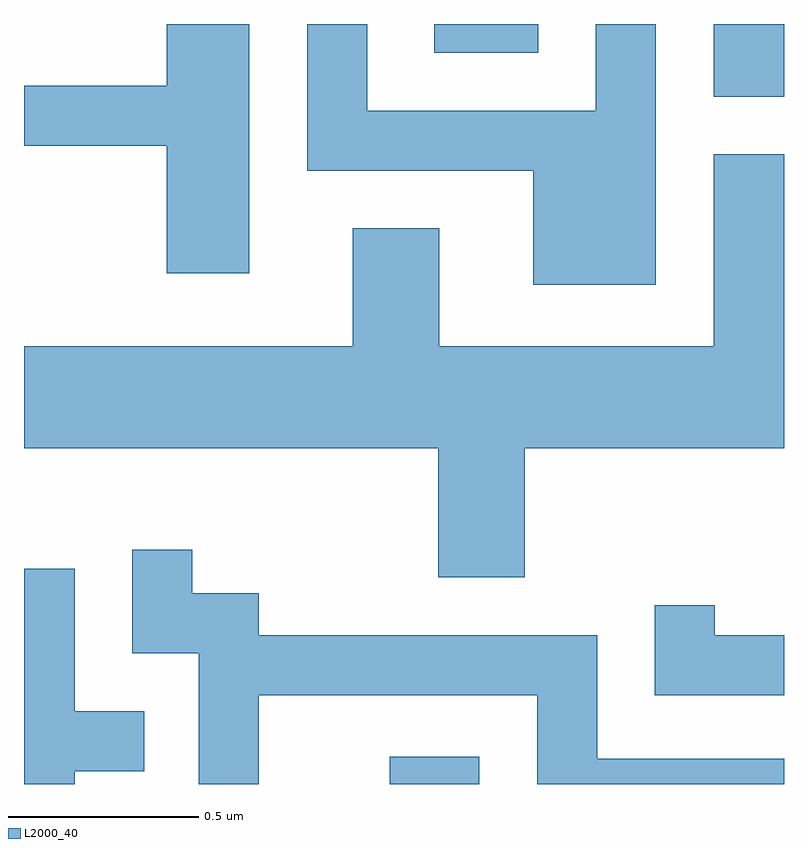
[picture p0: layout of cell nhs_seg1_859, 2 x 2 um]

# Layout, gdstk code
import gdstk
lib = gdstk.Library(unit=1e-6, precision=1e-09)
def R(c, l, rs):  # rectangles x0, y0, x1, y1
    for r in rs: c.add(gdstk.rectangle(r[:2], r[2:], *l))
def P(c, l, *ps):  # polygons
    for p in ps: c.add(gdstk.Polygon(p, *l))
L2000_40 = (2000, 40)

nhs_seg1_859 = lib.new_cell('nhs_seg1_859')
R(nhs_seg1_859, L2000_40, [(192.573,878.712,192.809,878.784), (193.426,880.521,193.611,880.712), (192.691,880.636,192.964,880.712)])
P(nhs_seg1_859, L2000_40, [(193.274,880.712),(193.116,880.712),(193.116,880.484),(192.514,880.484),(192.514,880.712),(192.356,880.712),(192.356,880.326),(192.951,880.326),(192.951,880.026),(193.274,880.026)],
  [(192.204,880.712),(191.986,880.712),(191.986,880.549),(191.611,880.549),(191.611,880.391),(191.986,880.391),(191.986,880.056),(192.204,880.056)],
  [(192.929,879.596),(193.611,879.596),(193.611,880.369),(193.426,880.369),(193.426,879.864),(192.704,879.864),(192.704,880.174),(192.476,880.174),(192.476,879.864),(191.611,879.864),(191.611,879.596),(192.701,879.596),(192.701,879.256),(192.929,879.256)],
  [(192.229,878.946),(192.961,878.946),(192.961,878.712),(193.611,878.712),(193.611,878.779),(193.119,878.779),(193.119,879.104),(192.229,879.104),(192.229,879.214),(192.054,879.214),(192.054,879.328),(191.896,879.328),(191.896,879.056),(192.071,879.056),(192.071,878.712),(192.229,878.712)],
  [(191.744,878.746),(191.928,878.746),(191.928,878.904),(191.744,878.904),(191.744,879.279),(191.611,879.279),(191.611,878.712),(191.744,878.712)],
  [(193.611,879.104),(193.429,879.104),(193.429,879.183),(193.271,879.183),(193.271,878.946),(193.611,878.946)])

lib.write_gds('nhs_seg1_859.gds')
